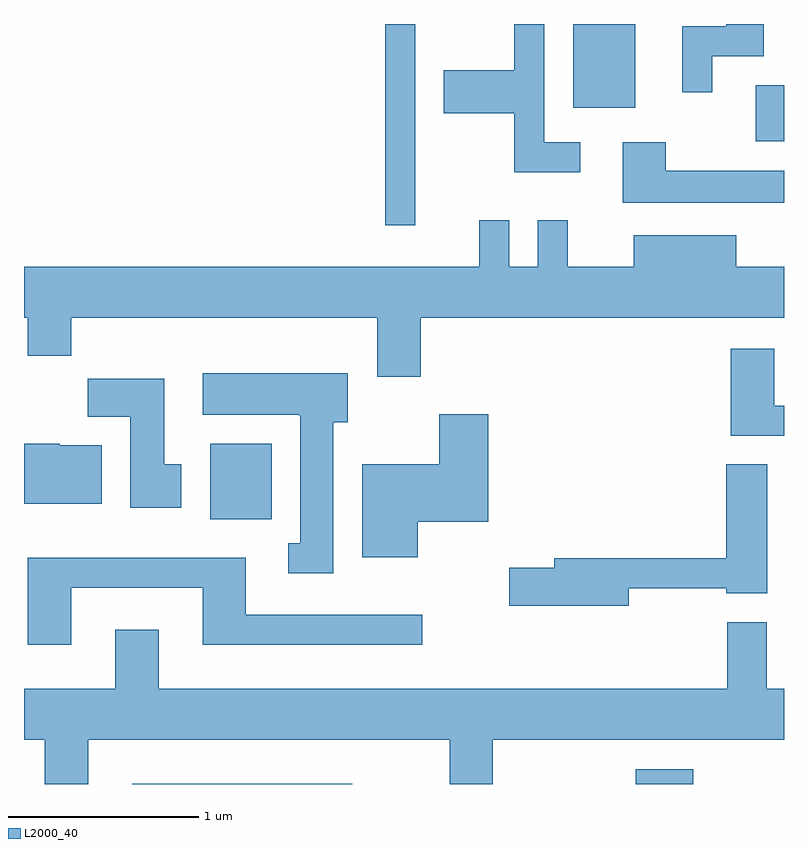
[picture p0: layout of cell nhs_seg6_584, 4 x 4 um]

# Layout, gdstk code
import gdstk
lib = gdstk.Library(unit=1e-6, precision=1e-09)
def R(c, l, rs):  # rectangles x0, y0, x1, y1
    for r in rs: c.add(gdstk.rectangle(r[:2], r[2:], *l))
def P(c, l, *ps):  # polygons
    for p in ps: c.add(gdstk.Polygon(p, *l))
L2000_40 = (2000, 40)

nhs_seg6_584 = lib.new_cell('nhs_seg6_584')
R(nhs_seg6_584, L2000_40, [(202.181,1634.162,203.338,1634.164), (204.831,1634.162,205.134,1634.239), (202.591,1635.556,202.914,1635.954), (203.511,1637.103,203.669,1638.162), (205.461,1637.546,205.611,1637.839), (204.501,1637.721,204.829,1638.162)])
P(nhs_seg6_584, L2000_40, [(205.234,1637.991),(205.504,1637.991),(205.504,1638.162),(205.306,1638.162),(205.306,1638.149),(205.076,1638.149),(205.076,1637.803),(205.234,1637.803)],
  [(204.538,1637.539),(204.349,1637.539),(204.349,1638.162),(204.191,1638.162),(204.191,1637.919),(203.821,1637.919),(203.821,1637.691),(204.191,1637.691),(204.191,1637.381),(204.538,1637.381)],
  [(205.611,1637.389),(204.989,1637.389),(204.989,1637.539),(204.761,1637.539),(204.761,1637.221),(205.611,1637.221)],
  [(203.699,1636.616),(205.611,1636.616),(205.611,1636.884),(205.359,1636.884),(205.359,1637.049),(204.821,1637.049),(204.821,1636.884),(204.474,1636.884),(204.474,1637.128),(204.316,1637.128),(204.316,1636.884),(204.164,1636.884),(204.164,1637.128),(204.006,1637.128),(204.006,1636.884),(201.611,1636.884),(201.611,1636.616),(201.631,1636.616),(201.631,1636.416),(201.859,1636.416),(201.859,1636.616),(203.471,1636.616),(203.471,1636.306),(203.699,1636.306)],
  [(205.611,1636.154),(205.559,1636.154),(205.559,1636.454),(205.331,1636.454),(205.331,1635.996),(205.611,1635.996)],
  [(203.239,1636.066),(203.314,1636.066),(203.314,1636.324),(202.551,1636.324),(202.551,1636.106),(203.06,1636.106),(203.06,1636.1),(203.066,1636.1),(203.066,1635.429),(203.003,1635.429),(203.003,1635.271),(203.239,1635.271)],
  [(202.439,1635.844),(202.349,1635.844),(202.349,1636.294),(201.946,1636.294),(201.946,1636.096),(202.171,1636.096),(202.171,1635.616),(202.439,1635.616)],
  [(203.684,1635.541),(204.054,1635.541),(204.054,1636.109),(203.796,1636.109),(203.796,1635.844),(203.391,1635.844),(203.391,1635.356),(203.684,1635.356)],
  [(202.019,1635.944),(201.8,1635.944),(201.8,1635.954),(201.611,1635.954),(201.611,1635.636),(202.019,1635.636)],
  [(204.794,1635.191),(205.306,1635.191),(205.306,1635.166),(205.524,1635.166),(205.524,1635.844),(205.306,1635.844),(205.306,1635.349),(204.401,1635.349),(204.401,1635.299),(204.166,1635.299),(204.166,1635.101),(204.794,1635.101)],
  [(201.859,1635.196),(202.551,1635.196),(202.551,1634.896),(203.708,1634.896),(203.708,1635.054),(202.779,1635.054),(202.779,1635.354),(201.631,1635.354),(201.631,1634.896),(201.859,1634.896)],
  [(201.949,1634.396),(203.851,1634.396),(203.851,1634.162),(204.079,1634.162),(204.079,1634.396),(205.611,1634.396),(205.611,1634.664),(205.519,1634.664),(205.519,1635.014),(205.311,1635.014),(205.311,1634.664),(202.319,1634.664),(202.319,1634.974),(202.091,1634.974),(202.091,1634.664),(201.611,1634.664),(201.611,1634.396),(201.721,1634.396),(201.721,1634.162),(201.949,1634.162)])

lib.write_gds('nhs_seg6_584.gds')
